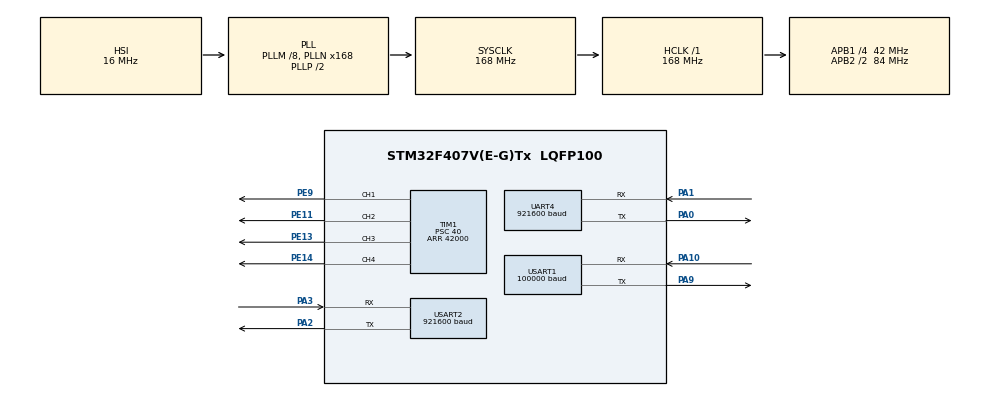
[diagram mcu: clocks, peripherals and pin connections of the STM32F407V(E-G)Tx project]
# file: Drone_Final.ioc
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Dma.Request0=USART1_RX
Dma.Request1=USART2_RX
Dma.USART1_RX.0.Direction=DMA_PERIPH_TO_MEMORY
Dma.USART1_RX.0.FIFOMode=DMA_FIFOMODE_DISABLE
Dma.USART1_RX.0.Instance=DMA2_Stream2
Dma.USART1_RX.0.MemDataAlignment=DMA_MDATAALIGN_BYTE
Dma.USART1_RX.0.MemInc=DMA_MINC_ENABLE
Dma.USART1_RX.0.Mode=DMA_CIRCULAR
Dma.USART1_RX.0.PeriphDataAlignment=DMA_PDATAALIGN_BYTE
Dma.USART1_RX.0.PeriphInc=DMA_PINC_DISABLE
Dma.USART1_RX.0.Priority=DMA_PRIORITY_LOW
Dma.USART2_RX.1.Direction=DMA_PERIPH_TO_MEMORY
Dma.USART2_RX.1.FIFOMode=DMA_FIFOMODE_DISABLE
Dma.USART2_RX.1.Instance=DMA1_Stream5
Dma.USART2_RX.1.MemDataAlignment=DMA_MDATAALIGN_BYTE
Dma.USART2_RX.1.MemInc=DMA_MINC_ENABLE
Dma.USART2_RX.1.Mode=DMA_CIRCULAR
Dma.USART2_RX.1.PeriphDataAlignment=DMA_PDATAALIGN_BYTE
Dma.USART2_RX.1.PeriphInc=DMA_PINC_DISABLE
Dma.USART2_RX.1.Priority=DMA_PRIORITY_LOW
Mcu.Family=STM32F4
Mcu.Name=STM32F407V(E-G)Tx
Mcu.Package=LQFP100
NVIC.DMA1_Stream5_IRQn=true\:0\:0\:false\:false\:true\:false
NVIC.DMA2_Stream2_IRQn=true\:0\:0\:false\:false\:true\:false
NVIC.PriorityGroup=NVIC_PRIORITYGROUP_4
NVIC.TIM6_DAC_IRQn=true\:0\:0\:false\:false\:true\:true
PA0-WKUP.Mode=Asynchronous
PA0-WKUP.Signal=UART4_TX
PA1.Mode=Asynchronous
PA1.Signal=UART4_RX
PA10.Mode=Asynchronous
PA10.Signal=USART1_RX
PA2.Mode=Asynchronous
PA2.Signal=USART2_TX
PA3.Mode=Asynchronous
PA3.Signal=USART2_RX
PA9.Mode=Asynchronous
PA9.Signal=USART1_TX
PE11.Signal=S_TIM1_CH2
PE13.Signal=S_TIM1_CH3
PE14.Signal=S_TIM1_CH4
PE9.Signal=S_TIM1_CH1
ProjectManager.HeapSize=0x200
ProjectManager.StackSize=0x400
ProjectManager.TargetToolchain=EWARM
RCC.48MHZClocksFreq_Value=84000000
RCC.AHBFreq_Value=168000000
RCC.APB1CLKDivider=RCC_HCLK_DIV4
RCC.APB1Freq_Value=42000000
RCC.APB1TimFreq_Value=84000000
RCC.APB2CLKDivider=RCC_HCLK_DIV2
RCC.APB2Freq_Value=84000000
RCC.APB2TimFreq_Value=168000000
RCC.CortexFreq_Value=168000000
RCC.HCLKFreq_Value=168000000
RCC.HSE_VALUE=25000000
RCC.HSI_VALUE=16000000
RCC.LSE_VALUE=32768
RCC.PLLM=8
RCC.PLLN=168
RCC.SYSCLKFreq_VALUE=168000000
RCC.SYSCLKSource=RCC_SYSCLKSOURCE_PLLCLK
RCC.VCOOutputFreq_Value=336000000
SH.S_TIM1_CH1.0=TIM1_CH1,PWM Generation1 CH1
SH.S_TIM1_CH2.0=TIM1_CH2,PWM Generation2 CH2
SH.S_TIM1_CH3.0=TIM1_CH3,PWM Generation3 CH3
SH.S_TIM1_CH4.0=TIM1_CH4,PWM Generation4 CH4
TIM1.Channel-PWM\ Generation1\ CH1=TIM_CHANNEL_1
TIM1.Channel-PWM\ Generation2\ CH2=TIM_CHANNEL_2
TIM1.Channel-PWM\ Generation3\ CH3=TIM_CHANNEL_3
TIM1.Channel-PWM\ Generation4\ CH4=TIM_CHANNEL_4
TIM1.Period=42000
TIM1.Prescaler=40
TIM6.Period=9
TIM6.Prescaler=16799
UART4.BaudRate=921600
UART4.VirtualMode=Asynchronous
USART1.BaudRate=100000
USART1.Parity=PARITY_EVEN
USART1.StopBits=STOPBITS_2
USART1.VirtualMode=VM_ASYNC
USART1.WordLength=WORDLENGTH_9B
USART2.BaudRate=921600
USART2.VirtualMode=VM_ASYNC
VP_TIM6_VS_ClockSourceINT.Mode=Enable_Timer
board=Drone_Final

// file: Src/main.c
/**
  ******************************************************************************
  * File Name          : main.c
  * Description        : Main program body
  ******************************************************************************
  ** This notice applies to any and all portions of this file
  * that are not between comment pairs USER CODE BEGIN and
  * USER CODE END. Other portions of this file, whether
  * inserted by the user or by software development tools
  * are owned by their respective copyright owners.
  *
  * COPYRIGHT(c) 2018 STMicroelectronics
  *
  * Redistribution and use in source and binary forms, with or without modification,
  * are permitted provided that the following conditions are met:
  *   1. Redistributions of source code must retain the above copyright notice,
  *      this list of conditions and the following disclaimer.
  *   2. Redistributions in binary form must reproduce the above copyright notice,
  *      this list of conditions and the following disclaimer in the documentation
  *      and/or other materials provided with the distribution.
  *   3. Neither the name of STMicroelectronics nor the names of its contributors
  *      may be used to endorse or promote products derived from this software
  *      without specific prior written permission.
  *
  * THIS SOFTWARE IS PROVIDED BY THE COPYRIGHT HOLDERS AND CONTRIBUTORS "AS IS"
  * AND ANY EXPRESS OR IMPLIED WARRANTIES, INCLUDING, BUT NOT LIMITED TO, THE
  * IMPLIED WARRANTIES OF MERCHANTABILITY AND FITNESS FOR A PARTICULAR PURPOSE ARE
  * DISCLAIMED. IN NO EVENT SHALL THE COPYRIGHT HOLDER OR CONTRIBUTORS BE LIABLE
  * FOR ANY DIRECT, INDIRECT, INCIDENTAL, SPECIAL, EXEMPLARY, OR CONSEQUENTIAL
  * DAMAGES (INCLUDING, BUT NOT LIMITED TO, PROCUREMENT OF SUBSTITUTE GOODS OR
  * SERVICES; LOSS OF USE, DATA, OR PROFITS; OR BUSINESS INTERRUPTION) HOWEVER
  * CAUSED AND ON ANY THEORY OF LIABILITY, WHETHER IN CONTRACT, STRICT LIABILITY,
  * OR TORT (INCLUDING NEGLIGENCE OR OTHERWISE) ARISING IN ANY WAY OUT OF THE USE
  * OF THIS SOFTWARE, EVEN IF ADVISED OF THE POSSIBILITY OF SUCH DAMAGE.
  *
  ******************************************************************************
  */
#include "main.h"
#include "stm32f4xx_hal.h"
#include "dma.h"
#include "tim.h"
#include "usart.h"
#include "gpio.h"

#include "mti.h"
#include "sbus.h"
#include "controller.h"

/* USER CODE BEGIN PV */
/* Private variables ---------------------------------------------------------*/

/* USER CODE END PV */

void SystemClock_Config(void);

/* USER CODE BEGIN PFP */
/* Private function prototypes -----------------------------------------------*/

/* USER CODE END PFP */

int main(void)
{

  /* MCU Configuration----------------------------------------------------------*/

  /* Reset of all peripherals, Initializes the Flash interface and the Systick. */
  HAL_Init();

  /* Configure the system clock */
  SystemClock_Config();

  /* Initialize all configured peripherals */
  MX_GPIO_Init();
  MX_DMA_Init();
  MX_TIM6_Init();
  MX_USART1_UART_Init();
  MX_USART2_UART_Init();
  MX_TIM1_Init();
  MX_UART4_Init();

  /* USER CODE BEGIN 2 */
  HAL_UART_Receive_DMA(&huart1, sbus_dma_buff, SBUS_DMA_LEN);
  HAL_UART_Receive_DMA(&huart2, mti_dma_buff, MTI_DMA_LEN);
  HAL_TIM_PWM_Start(&htim1, TIM_CHANNEL_1);
  HAL_TIM_PWM_Start(&htim1, TIM_CHANNEL_2);
  HAL_TIM_PWM_Start(&htim1, TIM_CHANNEL_3);
  HAL_TIM_PWM_Start(&htim1, TIM_CHANNEL_4);
  HAL_TIM_Base_Start_IT(&htim6);
  /* USER CODE END 2 */

  /* Infinite loop */
  while (1)
  {

  }

}

/** System Clock Configuration
*/
void SystemClock_Config(void)
{

  RCC_OscInitTypeDef RCC_OscInitStruct;
  RCC_ClkInitTypeDef RCC_ClkInitStruct;

    /**Configure the main internal regulator output voltage
    */
  __HAL_RCC_PWR_CLK_ENABLE();

  __HAL_PWR_VOLTAGESCALING_CONFIG(PWR_REGULATOR_VOLTAGE_SCALE1);

    /**Initializes the CPU, AHB and APB busses clocks
    */
  RCC_OscInitStruct.OscillatorType = RCC_OSCILLATORTYPE_HSI;
  RCC_OscInitStruct.HSIState = RCC_HSI_ON;
  RCC_OscInitStruct.HSICalibrationValue = 16;
  RCC_OscInitStruct.PLL.PLLState = RCC_PLL_ON;
  RCC_OscInitStruct.PLL.PLLSource = RCC_PLLSOURCE_HSI;
  RCC_OscInitStruct.PLL.PLLM = 8;
  RCC_OscInitStruct.PLL.PLLN = 168;
  RCC_OscInitStruct.PLL.PLLP = RCC_PLLP_DIV2;
  RCC_OscInitStruct.PLL.PLLQ = 4;
  if (HAL_RCC_OscConfig(&RCC_OscInitStruct) != HAL_OK)
  {
    _Error_Handler(__FILE__, __LINE__);
  }

    /**Initializes the CPU, AHB and APB busses clocks
    */
  RCC_ClkInitStruct.ClockType = RCC_CLOCKTYPE_HCLK|RCC_CLOCKTYPE_SYSCLK
                              |RCC_CLOCKTYPE_PCLK1|RCC_CLOCKTYPE_PCLK2;
  RCC_ClkInitStruct.SYSCLKSource = RCC_SYSCLKSOURCE_PLLCLK;
  RCC_ClkInitStruct.AHBCLKDivider = RCC_SYSCLK_DIV1;
  RCC_ClkInitStruct.APB1CLKDivider = RCC_HCLK_DIV4;
  RCC_ClkInitStruct.APB2CLKDivider = RCC_HCLK_DIV2;

  if (HAL_RCC_ClockConfig(&RCC_ClkInitStruct, FLASH_LATENCY_5) != HAL_OK)
  {
    _Error_Handler(__FILE__, __LINE__);
  }

    /**Configure the Systick interrupt time
    */
  HAL_SYSTICK_Config(HAL_RCC_GetHCLKFreq()/1000);

    /**Configure the Systick
    */
  HAL_SYSTICK_CLKSourceConfig(SYSTICK_CLKSOURCE_HCLK);

  /* SysTick_IRQn interrupt configuration */
  HAL_NVIC_SetPriority(SysTick_IRQn, 0, 0);
}

/* USER CODE BEGIN 4 */
 void HAL_TIM_PeriodElapsedCallback(TIM_HandleTypeDef *htim)
{
 if(htim -> Instance == TIM6)
 {
   /* New Code Begin */
   read_sbus_packet();
   /* New Code End */
   //read_sbus_packet();
   read_mti3_packet();
   /* New Code Begin */

   if(mti_decode_flag)
   {
     controller();
   }
   /* New Code Begin */
   //controller();
 }
}

#ifdef __GNUC__
   /* With GCC/RAISONANCE, small printf (option LD Linker->Libraries->Small printf
      set to 'Yes') calls __io_putchar() */
   #define PUTCHAR_PROTOTYPE int __io_putchar(int ch)
  #else
   #define PUTCHAR_PROTOTYPE int fputc(int ch, FILE *f)
  #endif /* __GNUC__ */
  /**
   * @brief  Retargets the C library printf function to the USART.
   * @param  None
   * @retval None
   */
  PUTCHAR_PROTOTYPE
  {
   /* write a character to the uart1 and Loop until the end of transmission */
   HAL_UART_Transmit(&huart4, (uint8_t *)&ch, 1, 0xFFFF);

   return ch;
  }
/* USER CODE END 4 */

void _Error_Handler(char * file, int line)
{
  while(1)
  {
  }
}

/************************ (C) COPYRIGHT STMicroelectronics *****END OF FILE****/
